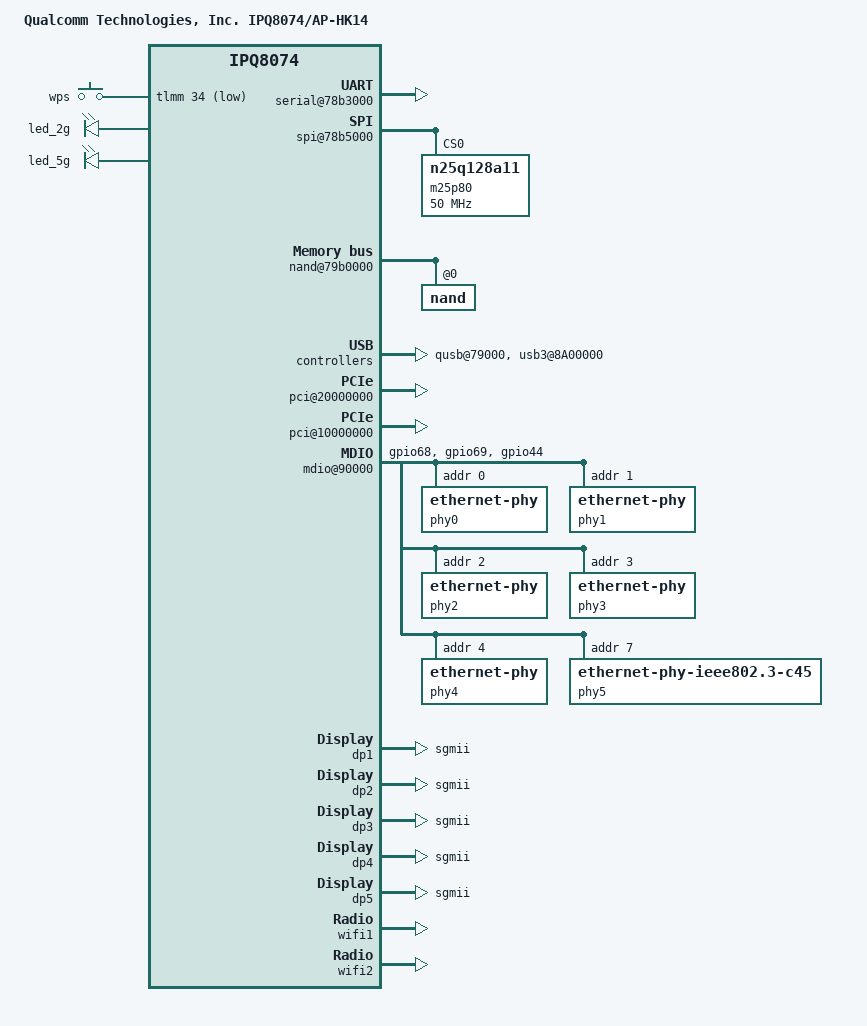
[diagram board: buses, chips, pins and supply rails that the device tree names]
// SPDX-License-Identifier: GPL-2.0-only
/dts-v1/;
/* Copyright (c) 2020 The Linux Foundation. All rights reserved.
 * Copyright (c) 2021 Qualcomm Innovation Center, Inc. All rights reserved.
 */
#include "ipq8074.dtsi"
#include "ipq8074-hk-cpu.dtsi"

/ {
	#address-cells = <0x2>;
	#size-cells = <0x2>;
	model = "Qualcomm Technologies, Inc. IPQ8074/AP-HK14";
	compatible = "qcom,ipq8074-ap-hk14", "qcom,ipq8074";
	qcom,msm-id = <0x157 0x0>, <0x187 0x0>;
	interrupt-parent = <&intc>;

	aliases {
		serial0 = &blsp1_uart5;
		/* Aliases as required by u-boot to patch MAC addresses */
		ethernet0 = "/soc/dp1";
		ethernet1 = "/soc/dp2";
		ethernet2 = "/soc/dp3";
		ethernet3 = "/soc/dp4";
		ethernet4 = "/soc/dp5";
	};

	chosen {
		stdout-path = "serial0";
	};

	reserved-memory {
/* No Pine attach in 256M profile */
#if !defined(__IPQ_MEM_PROFILE_256_MB__)
#ifdef __IPQ_MEM_PROFILE_512_MB__
	/*                      512 MB Profile
	 * +========+==============+=========================+
	 * | Region | Start Offset |          Size           |
	 * +--------+--------------+-------------------------+
	 * |  NSS   |  0x40000000  |          16MB           |
	 * +--------+--------------+-------------------------+
	 * | Linux  |  0x41000000  | Depends on total memory |
	 * +--------+--------------+-------------------------+
	 * | TZ APP |  0x4A400000  |           1MB           |
	 * +--------+--------------+-------------------------+
	 * | uboot  |  0x4A600000  |           4MB           |
	 * +--------+--------------+-------------------------+
	 * |  SBL   |  0x4AA00000  |           1MB           |
	 * +--------+--------------+-------------------------+
	 * |  smem  |  0x4AB00000  |           1MB           |
	 * +--------+--------------+-------------------------+
	 * |   TZ   |  0x4AC00000  |           4MB           |
	 * +--------+--------------+-------------------------+
	 * |   Q6   |  0x4B000000  |          55MB           |
	 * +--------+--------------+-------------------------+
	 * |  QDSS  |  0x4E700000  |           1MB           |
	 * +--------+--------------+-------------------------+
	 * | M3 Dump|  0x4E800000  |           1MB           |
	 * +--------+--------------+-------------------------+
	 * |  Pine  |  0x4E900000  |          26MB           |
	 * +--------+--------------+-------------------------+
	 * |  MHI0  |  0x50300000  |          9MB            |
	 * +--------+--------------+-------------------------+
	 * |                                                 |
	 * |      Rest of the memory for Linux               |
	 * |                                                 |
	 * +=================================================+
	 */
		qcn9000_pcie0: qcn9000_pcie0@4e900000 {
			no-map;
			reg = <0x0 0x4e900000 0x0 0x01A00000>;
		};

#if defined(__CNSS2__)
		mhi_region0: dma_pool0@50300000 {
			compatible = "shared-dma-pool";
			no-map;
			reg = <0x0 0x50300000 0x0 0x00900000>;
		};
#endif
#else
	/*                   Default Profile
	 * +========+==============+=========================+
	 * | Region | Start Offset |          Size           |
	 * +--------+--------------+-------------------------+
	 * |  NSS   |  0x40000000  |          16MB           |
	 * +--------+--------------+-------------------------+
	 * | Linux  |  0x41000000  | Depends on total memory |
	 * +--------+--------------+-------------------------+
	 * | TZ APP |  0x4A400000  |           2MB           |
	 * +--------+--------------+-------------------------+
	 * | uboot  |  0x4A600000  |           4MB           |
	 * +--------+--------------+-------------------------+
	 * |  SBL   |  0x4AA00000  |           1MB           |
	 * +--------+--------------+-------------------------+
	 * |  smem  |  0x4AB00000  |           1MB           |
	 * +--------+--------------+-------------------------+
	 * |   TZ   |  0x4AC00000  |           4MB           |
	 * +--------+--------------+-------------------------+
	 * |   Q6   |  0x4B000000  |          95MB           |
	 * +--------+--------------+-------------------------+
	 * |  QDSS  |  0x50F00000  |           1MB           |
	 * +--------+--------------+-------------------------+
	 * | M3 Dump|  0x51000000  |           1MB           |
	 * +--------+--------------+-------------------------+
	 * |  Pine0 |  0x51100000  |          53MB           |
	 * +--------+--------------+-------------------------+
	 * |  MHI0  |  0x54600000  |           9MB           |
	 * +--------+--------------+-------------------------+
	 * |                                                 |
	 * |          Rest of the memory for Linux           |
	 * |                                                 |
	 * +=================================================+
	 */
		qcn9000_pcie0: qcn9000_pcie0@51100000 {
			no-map;
			reg = <0x0 0x51100000 0x0 0x03500000>;
		};

#if defined(__CNSS2__)
		mhi_region0: dma_pool0@54600000 {
			compatible = "shared-dma-pool";
			no-map;
			reg = <0x0 0x54600000 0x0 0x00900000>;
		};
#endif
#endif
#endif
	};

	soc {
		pinctrl@1000000 {
			button_pins: button_pins {
				wps_button {
					pins = "gpio34";
					function = "gpio";
					drive-strength = <8>;
					bias-pull-up;
				};
			};

			pcie0_pins: pcie_pins {
				pcie0_rst {
					pins = "gpio58";
					function = "pcie0_rst";
					drive-strength = <8>;
					bias-pull-down;
				};
				pcie0_wake {
					pins = "gpio59";
					function = "pcie0_wake";
					drive-strength = <8>;
					bias-pull-down;
				};
			};

			mdio_pins: mdio_pinmux {
				mux_0 {
					pins = "gpio68";
					function = "mdc";
					drive-strength = <8>;
					bias-pull-up;
				};
				mux_1 {
					pins = "gpio69";
					function = "mdio";
					drive-strength = <8>;
					bias-pull-up;
				};
				mux_2 {
					pins = "gpio44";
					function = "gpio";
					bias-pull-up;
				};
			};

			uniphy_pins: uniphy_pinmux {
				mux {
					pins = "gpio60";
					function = "rx2";
					bias-disable;
				};
			};

			led_pins: led_pins {
				led_2g {
					pins = "gpio42";
					function = "gpio";
					drive-strength = <8>;
					bias-pull-down;
				};

				led_5g {
					pins = "gpio43";
					function = "gpio";
					drive-strength = <8>;
					bias-pull-down;
				};
			};
		};

		serial@78b3000 {
			status = "ok";
		};

		spi@78b5000 {
			status = "ok";
			pinctrl-0 = <&spi_0_pins>;
			pinctrl-names = "default";
			cs-select = <0>;

			m25p80@0 {
				  compatible = "n25q128a11";
				  #address-cells = <1>;
				  #size-cells = <1>;
				  reg = <0>;
				  spi-max-frequency = <50000000>;
			};
		};

		dma@7984000 {
			 status = "ok";
		};

		nand@79b0000 {
			status = "ok";

			nand@0 {
				reg = <0>;
				#address-cells = <1>;
				#size-cells = <1>;

				nand-ecc-strength = <4>;
				nand-ecc-step-size = <512>;
				nand-bus-width = <8>;
			};
		};

		qusb@79000 {
			status = "ok";
		};

		ssphy@78000 {
			status = "ok";
		};

		usb3@8A00000 {
			status = "ok";
		};

		qcom,test@0 {
			status = "ok";
		};

		phy@84000 {
			status = "ok";
		};

		phy@86000 {
			status = "ok";
		};

		pci@20000000 {
			perst-gpio = <&tlmm 58 1>;
			status = "ok";

			pcie0_rp: pcie0_rp {
				reg = <0 0 0 0 0>;
			};
		};

		phy@8e000 {
			status = "ok";
		};

		pci@10000000 {
			perst-gpio = <&tlmm 61 0x1>;
			status = "ok";
		};

		mdio@90000 {
			pinctrl-0 = <&mdio_pins>;
			pinctrl-names = "default";
			phy-reset-gpio = <&tlmm 37 0>;
			phy0: ethernet-phy@0 {
				reg = <0>;
			};
			phy1: ethernet-phy@1 {
				reg = <1>;
			};
			phy2: ethernet-phy@2 {
				reg = <2>;
			};
			phy3: ethernet-phy@3 {
				reg = <3>;
			};
			phy4: ethernet-phy@4 {
				reg = <4>;
			};
			phy5: ethernet-phy@5 {
				compatible ="ethernet-phy-ieee802.3-c45";
				reg = <7>;
			};
		};

		ess-switch@3a000000 {
			pinctrl-0 = <&uniphy_pins>;
			pinctrl-names = "default";
			switch_cpu_bmp = <0x1>;  /* cpu port bitmap */
			switch_lan_bmp = <0x1e>; /* lan port bitmap */
			switch_wan_bmp = <0x40>; /* wan port bitmap */
			switch_mac_mode = <0x0>; /* mac mode for uniphy instance0*/
			switch_mac_mode1 = <0xff>; /* mac mode for uniphy instance1*/
			switch_mac_mode2 = <0xd>; /* mac mode for uniphy instance2*/
			bm_tick_mode = <0>; /* bm tick mode */
			tm_tick_mode = <0>; /* tm tick mode */
			qcom,port_phyinfo {
				port@0 {
					port_id = <1>;
					phy_address = <0>;
				};
				port@1 {
					port_id = <2>;
					phy_address = <1>;
				};
				port@2 {
					port_id = <3>;
					phy_address = <2>;
				};
				port@3 {
					port_id = <4>;
					phy_address = <3>;
				};
				port@4 {
					port_id = <6>;
					phy_address = <7>;
					ethernet-phy-ieee802.3-c45;
				};
			};
		};
		gpio_keys {
			compatible = "gpio-keys";
			pinctrl-0 = <&button_pins>;
			pinctrl-names = "default";
			status = "ok";

			button@1 {
				label = "wps";
				linux,code = <KEY_WPS_BUTTON>;
				gpios = <&tlmm 34 GPIO_ACTIVE_LOW>;
				linux,input-type = <1>;
				debounce-interval = <60>;
			};
		};

		leds {
			compatible = "gpio-leds";
			pinctrl-0 = <&led_pins>;
			pinctrl-names = "default";

			led_2g {
				label = "led_2g";
				gpio = <&tlmm 42 GPIO_ACTIVE_HIGH>;
				default-state = "off";
			};

			led_5g {
				label = "led_5g";
				gpio = <&tlmm 43 GPIO_ACTIVE_HIGH>;
				default-state = "off";
			};
		};

		dp1 {
			device_type = "network";
			compatible = "qcom,nss-dp";
			qcom,id = <1>;
			reg = <0x3a001000 0x200>;
			qcom,mactype = <0>;
			local-mac-address = [000000000000];
			qcom,link-poll = <1>;
			qcom,phy-mdio-addr = <0>;
			phy-mode = "sgmii";
		};

		dp2 {
			device_type = "network";
			compatible = "qcom,nss-dp";
			qcom,id = <2>;
			reg = <0x3a001200 0x200>;
			qcom,mactype = <0>;
			local-mac-address = [000000000000];
			qcom,link-poll = <1>;
			qcom,phy-mdio-addr = <1>;
			phy-mode = "sgmii";
		};

		dp3 {
			device_type = "network";
			compatible = "qcom,nss-dp";
			qcom,id = <3>;
			reg = <0x3a001400 0x200>;
			qcom,mactype = <0>;
			local-mac-address = [000000000000];
			qcom,link-poll = <1>;
			qcom,phy-mdio-addr = <2>;
			phy-mode = "sgmii";
		};

		dp4 {
			device_type = "network";
			compatible = "qcom,nss-dp";
			qcom,id = <4>;
			reg = <0x3a001600 0x200>;
			qcom,mactype = <0>;
			local-mac-address = [000000000000];
			qcom,link-poll = <1>;
			qcom,phy-mdio-addr = <3>;
			phy-mode = "sgmii";
		};

		dp5 {
			device_type = "network";
			compatible = "qcom,nss-dp";
			qcom,id = <6>;
			reg = <0x3a007000 0x3fff>;
			qcom,mactype = <1>;
			local-mac-address = [000000000000];
			qcom,link-poll = <1>;
			qcom,phy-mdio-addr = <7>;
			phy-mode = "sgmii";
		};
	};
};

&npu_cpr {
	status = "disabled";
};

&nss0 {
	npu-supply = <&dummy_reg>;
	mx-supply = <&dummy_reg>;
};

#ifndef __IPQ_MEM_PROFILE_256_MB__
&nss1 {
	npu-supply = <&dummy_reg>;
	mx-supply = <&dummy_reg>;
};
#endif

&wifi0 {
	status = "disabled";
};

&wifi1 {
	qcom,board_id = <0x294>;
	status = "ok";
};

#if !defined(__IPQ_MEM_PROFILE_256_MB__)
&wifi2 {
#ifdef __IPQ_MEM_PROFILE_512_MB__
      /* QCN9000 tgt-mem-mode=1 layout - 26MB
       * +=========+==============+=========+
       * |  Region | Start Offset |   Size  |
       * +---------+--------------+---------+
       * | HREMOTE |  0x4E900000  |   12MB  |
       * +---------+--------------+---------+
       * | M3 Dump |  0x4F500000  |   1MB   |
       * +---------+--------------+---------+
       * |   ETR   |  0x4F600000  |   1MB   |
       * +---------+--------------+---------+
       * |  Caldb  |  0x4F700000  |   8MB   |
       * +---------+--------------+---------+
       * | Pageable|  0x4FF00000  |   4MB   |
       * +==================================+
       */
	base-addr = <0x4E900000>;
	m3-dump-addr = <0x4F500000>;
	etr-addr = <0x4F600000>;
	caldb-addr = <0x4F700000>;
	pageable-addr = <0x4FF00000>;
	hremote-size = <0xC00000>;
	tgt-mem-mode = <0x1>;
	pageable-size = <0x400000>;
#else
      /* QCN9000 tgt-mem-mode=0 layout - 45MB
       * +=========+==============+=========+
       * |  Region | Start Offset |   Size  |
       * +---------+--------------+---------+
       * | HREMOTE |  0x51100000  |   35MB  |
       * +---------+--------------+---------+
       * | M3 DUMP |  0x53400000  |   1MB   |
       * +---------+--------------+---------+
       * |   ETR   |  0x53500000  |   1MB   |
       * +---------+--------------+---------+
       * |  Caldb  |  0x53600000  |   8MB   |
       * +---------+--------------+---------+
       * | Pageable|  0x53E00000  |   8MB   |
       * +==================================+
       */
	base-addr = <0x51100000>;
	m3-dump-addr = <0x53400000>;
	etr-addr = <0x53500000>;
	caldb-addr = <0x53600000>;
	pageable-addr = <0x53E00000>;
	hremote-size = <0x2300000>;
	tgt-mem-mode = <0x0>;
	pageable-size = <0x800000>;
#endif
	caldb-size = <0x800000>;
	hremote_node = <&qcn9000_pcie0>;
	board_id = <0xa4>;
	status = "ok";
};
#endif

&wifi3 {
	status = "disabled";
};

&pcie0_rp {
	status = "ok";

#if defined(__CNSS2__)
	mhi_0: qcom,mhi@0 {
		reg = <0 0 0 0 0 >;
		qrtr_instance_id = <0x20>;
		#address-cells = <0x2>;
		#size-cells = <0x2>;
#if !defined(__IPQ_MEM_PROFILE_256_MB__)
		memory-region = <0>,<&mhi_region0>;
#endif
	};
#else
	mhi_0: wifi@0 {
		reg = <0 0 0 0 0 >;
		qrtr_instance_id = <0x20>;
		qcom,board_id= <0xa4>;
		memory-region = <&qcn9000_pcie0>;

		pcie0_mhi: pcie0_mhi {
			status = "ok";
		};
	};
#endif
};
